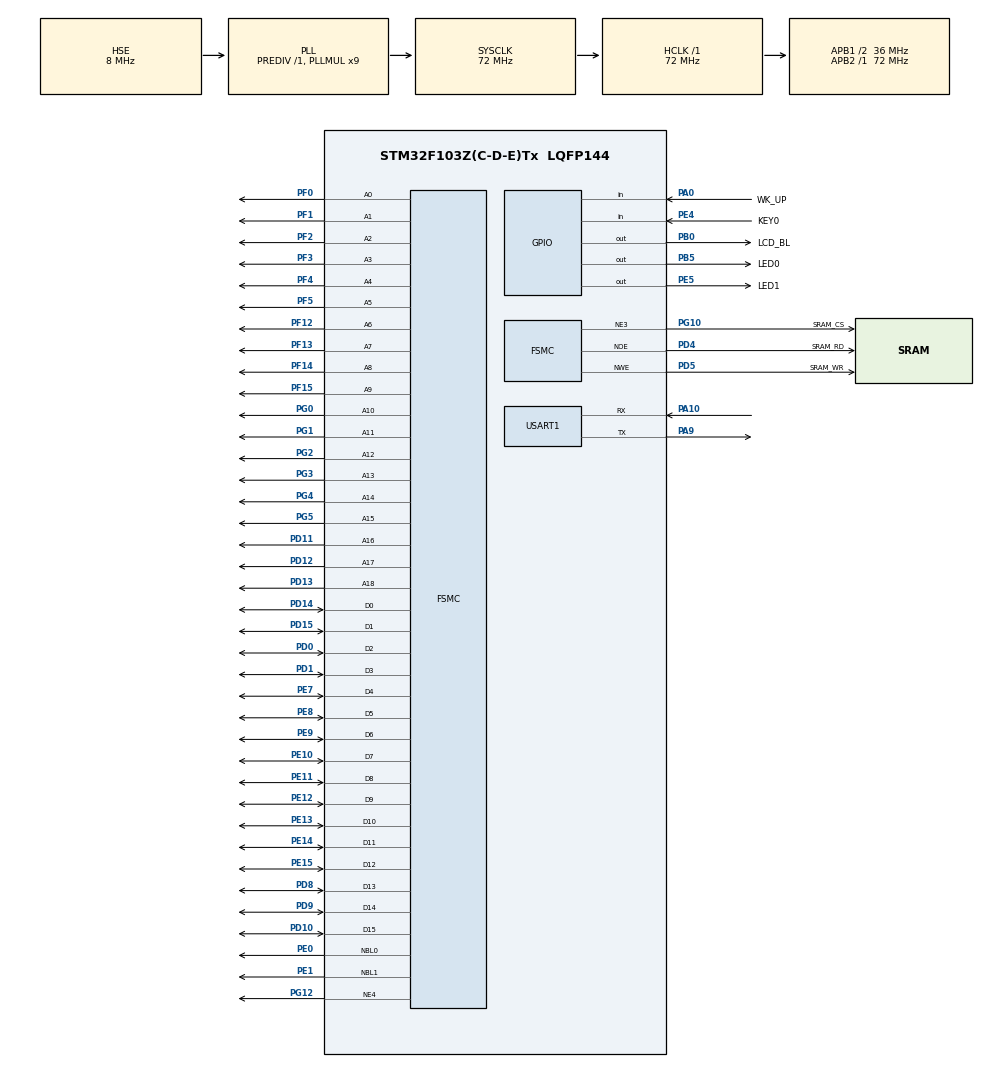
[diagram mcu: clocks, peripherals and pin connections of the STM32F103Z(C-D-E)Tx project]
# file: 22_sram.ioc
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FSMC.AddressSetupTime1=0
FSMC.AddressSetupTime2=0x00
FSMC.DataSetupTime1=15
FSMC.DataSetupTime2=0x01
FSMC.ExtendedAddressSetupTime1=0
FSMC.ExtendedDataSetupTime1=1
FSMC.ExtendedMode1=FSMC_EXTENDED_MODE_ENABLE
FSMC.WriteOperation2=FSMC_WRITE_OPERATION_ENABLE
Mcu.Family=STM32F1
Mcu.Name=STM32F103Z(C-D-E)Tx
Mcu.Package=LQFP144
NVIC.PriorityGroup=NVIC_PRIORITYGROUP_2
NVIC.USART1_IRQn=true\:2\:2\:true\:false\:true\:true\:true\:true
OSC_IN.Mode=HSE-External-Oscillator
OSC_IN.Signal=RCC_OSC_IN
OSC_OUT.Mode=HSE-External-Oscillator
OSC_OUT.Signal=RCC_OSC_OUT
PA0-WKUP.GPIO_Label=WK_UP
PA0-WKUP.GPIO_PuPd=GPIO_PULLDOWN
PA0-WKUP.Signal=GPIO_Input
PA10.Mode=Asynchronous
PA10.Signal=USART1_RX
PA13.Mode=Serial_Wire
PA13.Signal=SYS_JTMS-SWDIO
PA14.Mode=Serial_Wire
PA14.Signal=SYS_JTCK-SWCLK
PA9.Mode=Asynchronous
PA9.Signal=USART1_TX
PB0.GPIO_Label=LCD_BL
PB0.GPIO_PuPd=GPIO_PULLUP
PB0.GPIO_Speed=GPIO_SPEED_FREQ_HIGH
PB0.PinState=GPIO_PIN_SET
PB0.Signal=GPIO_Output
PB5.GPIO_Label=LED0
PB5.GPIO_PuPd=GPIO_PULLDOWN
PB5.GPIO_Speed=GPIO_SPEED_FREQ_HIGH
PB5.PinState=GPIO_PIN_SET
PB5.Signal=GPIO_Output
PC14-OSC32_IN.Mode=LSE-External-Oscillator
PC14-OSC32_IN.Signal=RCC_OSC32_IN
PC15-OSC32_OUT.Mode=LSE-External-Oscillator
PC15-OSC32_OUT.Signal=RCC_OSC32_OUT
PD0.Signal=FSMC_D2_DA2
PD1.Signal=FSMC_D3_DA3
PD10.Signal=FSMC_D15_DA15
PD11.Signal=FSMC_A16_CLE
PD12.Signal=FSMC_A17_ALE
PD13.Signal=FSMC_A18
PD14.Signal=FSMC_D0_DA0
PD15.Signal=FSMC_D1_DA1
PD4.GPIO_Label=SRAM_RD
PD4.Signal=FSMC_NOE
PD5.GPIO_Label=SRAM_WR
PD5.Signal=FSMC_NWE
PD8.Signal=FSMC_D13_DA13
PD9.Signal=FSMC_D14_DA14
PE0.Signal=FSMC_NBL0
PE1.Signal=FSMC_NBL1
PE10.Signal=FSMC_D7_DA7
PE11.Signal=FSMC_D8_DA8
PE12.Signal=FSMC_D9_DA9
PE13.Signal=FSMC_D10_DA10
PE14.Signal=FSMC_D11_DA11
PE15.Signal=FSMC_D12_DA12
PE4.GPIO_Label=KEY0
PE4.GPIO_PuPd=GPIO_PULLDOWN
PE4.Signal=GPIO_Input
PE5.GPIO_Label=LED1
PE5.GPIO_PuPd=GPIO_PULLDOWN
PE5.GPIO_Speed=GPIO_SPEED_FREQ_HIGH
PE5.PinState=GPIO_PIN_SET
PE5.Signal=GPIO_Output
PE7.Signal=FSMC_D4_DA4
PE8.Signal=FSMC_D5_DA5
PE9.Signal=FSMC_D6_DA6
PF0.Signal=FSMC_A0
PF1.Signal=FSMC_A1
PF12.Signal=FSMC_A6
PF13.Signal=FSMC_A7
PF14.Signal=FSMC_A8
PF15.Signal=FSMC_A9
PF2.Signal=FSMC_A2
PF3.Signal=FSMC_A3
PF4.Signal=FSMC_A4
PF5.Signal=FSMC_A5
PG0.Signal=FSMC_A10
PG1.Signal=FSMC_A11
PG10.GPIO_Label=SRAM_CS
PG10.Mode=NorPsramChipSelect3_2
PG10.Signal=FSMC_NE3
PG12.Mode=NorPsramChipSelect4_1
PG12.Signal=FSMC_NE4
PG2.Signal=FSMC_A12
PG3.Signal=FSMC_A13
PG4.Signal=FSMC_A14
PG5.Signal=FSMC_A15
ProjectManager.HeapSize=0x1000
ProjectManager.StackSize=0x400
ProjectManager.TargetToolchain=STM32CubeIDE
RCC.AHBFreq_Value=72000000
RCC.APB1CLKDivider=RCC_HCLK_DIV2
RCC.APB1Freq_Value=36000000
RCC.APB1TimFreq_Value=72000000
RCC.APB2Freq_Value=72000000
RCC.APB2TimFreq_Value=72000000
RCC.HCLKFreq_Value=72000000
RCC.PLLMUL=RCC_PLL_MUL9
RCC.PLLSourceVirtual=RCC_PLLSOURCE_HSE
RCC.SYSCLKFreq_VALUE=72000000
RCC.SYSCLKSource=RCC_SYSCLKSOURCE_PLLCLK
RCC.USBFreq_Value=72000000
SH.FSMC_A0.0=FSMC_A0,19b-a2
SH.FSMC_A1.0=FSMC_A1,19b-a2
SH.FSMC_A10.0=FSMC_A10,A10_1
SH.FSMC_A10.1=FSMC_A10,19b-a2
SH.FSMC_A11.0=FSMC_A11,19b-a2
SH.FSMC_A12.0=FSMC_A12,19b-a2
SH.FSMC_A13.0=FSMC_A13,19b-a2
SH.FSMC_A14.0=FSMC_A14,19b-a2
SH.FSMC_A15.0=FSMC_A15,19b-a2
SH.FSMC_A16_CLE.0=FSMC_A16,19b-a2
SH.FSMC_A17_ALE.0=FSMC_A17,19b-a2
SH.FSMC_A18.0=FSMC_A18,19b-a2
SH.FSMC_A2.0=FSMC_A2,19b-a2
SH.FSMC_A3.0=FSMC_A3,19b-a2
SH.FSMC_A4.0=FSMC_A4,19b-a2
SH.FSMC_A5.0=FSMC_A5,19b-a2
SH.FSMC_A6.0=FSMC_A6,19b-a2
SH.FSMC_A7.0=FSMC_A7,19b-a2
SH.FSMC_A8.0=FSMC_A8,19b-a2
SH.FSMC_A9.0=FSMC_A9,19b-a2
SH.FSMC_D0_DA0.0=FSMC_D0,16b-d1
SH.FSMC_D0_DA0.1=FSMC_D0,16b-d2
SH.FSMC_D10_DA10.0=FSMC_D10,16b-d1
SH.FSMC_D10_DA10.1=FSMC_D10,16b-d2
SH.FSMC_D11_DA11.0=FSMC_D11,16b-d1
SH.FSMC_D11_DA11.1=FSMC_D11,16b-d2
SH.FSMC_D12_DA12.0=FSMC_D12,16b-d1
SH.FSMC_D12_DA12.1=FSMC_D12,16b-d2
SH.FSMC_D13_DA13.0=FSMC_D13,16b-d1
SH.FSMC_D13_DA13.1=FSMC_D13,16b-d2
SH.FSMC_D14_DA14.0=FSMC_D14,16b-d1
SH.FSMC_D14_DA14.1=FSMC_D14,16b-d2
SH.FSMC_D15_DA15.0=FSMC_D15,16b-d1
SH.FSMC_D15_DA15.1=FSMC_D15,16b-d2
SH.FSMC_D1_DA1.0=FSMC_D1,16b-d1
SH.FSMC_D1_DA1.1=FSMC_D1,16b-d2
SH.FSMC_D2_DA2.0=FSMC_D2,16b-d1
SH.FSMC_D2_DA2.1=FSMC_D2,16b-d2
SH.FSMC_D3_DA3.0=FSMC_D3,16b-d1
SH.FSMC_D3_DA3.1=FSMC_D3,16b-d2
SH.FSMC_D4_DA4.0=FSMC_D4,16b-d1
SH.FSMC_D4_DA4.1=FSMC_D4,16b-d2
SH.FSMC_D5_DA5.0=FSMC_D5,16b-d1
SH.FSMC_D5_DA5.1=FSMC_D5,16b-d2
SH.FSMC_D6_DA6.0=FSMC_D6,16b-d1
SH.FSMC_D6_DA6.1=FSMC_D6,16b-d2
SH.FSMC_D7_DA7.0=FSMC_D7,16b-d1
SH.FSMC_D7_DA7.1=FSMC_D7,16b-d2
SH.FSMC_D8_DA8.0=FSMC_D8,16b-d1
SH.FSMC_D8_DA8.1=FSMC_D8,16b-d2
SH.FSMC_D9_DA9.0=FSMC_D9,16b-d1
SH.FSMC_D9_DA9.1=FSMC_D9,16b-d2
SH.FSMC_NBL0.0=FSMC_NBL0,2ByteEnable2
SH.FSMC_NBL1.0=FSMC_NBL1,2ByteEnable2
SH.FSMC_NOE.0=FSMC_NOE,Lcd1
SH.FSMC_NOE.1=FSMC_NOE,Sram2
SH.FSMC_NWE.0=FSMC_NWE,Lcd1
SH.FSMC_NWE.1=FSMC_NWE,Sram2
USART1.VirtualMode=VM_ASYNC
board=custom

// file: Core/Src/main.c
/* USER CODE BEGIN Header */
/**
 ****************************************************************************************************
 * @file        main.c
 * @author      ALIENTEK
 * @brief       sram code
 * @license     Copyright (C) 2012-2024, ALIENTEK
 ****************************************************************************************************
 * @attention
 *
 * platform     : ALIENTEK M144-STM32F103 board
 * website      : www.alientek.com
 * forum        : www.openedv.com/forum.php
 *
 * change logs  :
 * version      data         notes
 * V1.0         20240410     the first version
 *
 ****************************************************************************************************
 */
/* USER CODE END Header */
#include "main.h"
#include "usart.h"
#include "gpio.h"
#include "fsmc.h"

/* USER CODE BEGIN Includes */
#include "../../BSP/LED/led.h"
#include "../../BSP/KEY/key.h"
#include "../../BSP/LCD/lcd.h"
/* USER CODE END Includes */

/* USER CODE BEGIN PTD */

/* Defines a test array
 * The start address is SRAM_BASE_ADDR
 */
uint32_t g_test_buffer[250000]  __attribute__((section(".sram")));

/**
 * @brief       External Memory Test (supports up to 1MB memory test)
 * @param       None
 * @retval      None
 */
void fsmc_sram_test(uint16_t x, uint16_t y)
{
    uint32_t i = 0;
    uint8_t temp = 0;
    uint8_t sval = 0; /* Data read at address 0 */

    lcd_show_string(x, y, 239, y + 16, 16, "Ex Memory Test:   0KB", BLUE);

    /* Write one data every 4KB, a total of 256 data written, exactly 1MB */
    for (i = 0; i < 1024 * 1024; i += 4096)
    {
        sram_write(&temp, i, 1);
        temp++;
    }

    /* Read out the previously written data one by one and perform verification */
    for (i = 0; i < 1024 * 1024; i += 4096)
    {
        sram_read(&temp, i, 1);

        if (i == 0)
        {
            sval = temp;
        }
        else if (temp <= sval)
        {
            break; /* The data read later must be greater than the data read for the first time */
        }

        lcd_show_xnum(x + 15 * 8, y, (uint16_t)(temp - sval + 1) * 4, 4, 16, 0, BLUE); /* Display memory capacity */
    }
}

/* USER CODE END PTD */

void SystemClock_Config(void);

int main(void)
{
  /* USER CODE BEGIN 1 */
    uint8_t key;
    uint8_t i = 0;
    uint32_t ts = 0;
  /* USER CODE END 1 */

  /* MCU Configuration--------------------------------------------------------*/

  /* Reset of all peripherals, Initializes the Flash interface and the Systick. */
  HAL_Init();

  /* Configure the system clock */
  SystemClock_Config();

  /* Initialize all configured peripherals */
  MX_GPIO_Init();
  MX_USART1_UART_Init();
  MX_FSMC_Init();
  /* USER CODE BEGIN 2 */

  lcd_init();
  lcd_show_string(30,  50, 200, 16, 16, "STM32", RED);
  lcd_show_string(30,  70, 200, 16, 16, "SRAM TEST", RED);
  lcd_show_string(30,  90, 200, 16, 16, "ATOM@ALIENTEK", RED);
  lcd_show_string(30, 110, 200, 16, 16, "KEY0:Test Sram", RED);
  lcd_show_string(30, 130, 200, 16, 16, "KEY_UP:TEST Data", RED);

  for (ts = 0; ts < 250000; ts++)
  {
      g_test_buffer[ts] = ts;         /* Pre-store test data */
  }

  /* USER CODE END 2 */

  /* Infinite loop */
  while (1)
  {
      key = key_scan(0);              /* Continuous pressing is not supported */

      if (key == KEY0_PRES)
      {
          fsmc_sram_test(30, 150);    /* Test SRAM capacity */
      }
      else if (key == WKUP_PRES)      /* Print pre-stored test data */
      {
          for (ts = 0; ts < 250000; ts++)
          {
              lcd_show_xnum(30, 170, g_test_buffer[ts], 6, 16, 0, BLUE);
          }
      }
      else
      {
    	  HAL_Delay(10);        /* delay 10ms */
      }

      i++;

      if (i == 20)
      {
          i = 0;
          LED0_TOGGLE();
      }
  }
}

void SystemClock_Config(void)
{
  RCC_OscInitTypeDef RCC_OscInitStruct = {0};
  RCC_ClkInitTypeDef RCC_ClkInitStruct = {0};

  /** Initializes the RCC Oscillators according to the specified parameters
  * in the RCC_OscInitTypeDef structure.
  */
  RCC_OscInitStruct.OscillatorType = RCC_OSCILLATORTYPE_HSE;
  RCC_OscInitStruct.HSEState = RCC_HSE_ON;
  RCC_OscInitStruct.HSEPredivValue = RCC_HSE_PREDIV_DIV1;
  RCC_OscInitStruct.HSIState = RCC_HSI_ON;
  RCC_OscInitStruct.PLL.PLLState = RCC_PLL_ON;
  RCC_OscInitStruct.PLL.PLLSource = RCC_PLLSOURCE_HSE;
  RCC_OscInitStruct.PLL.PLLMUL = RCC_PLL_MUL9;
  if (HAL_RCC_OscConfig(&RCC_OscInitStruct) != HAL_OK)
  {
    Error_Handler();
  }

  /** Initializes the CPU, AHB and APB buses clocks
  */
  RCC_ClkInitStruct.ClockType = RCC_CLOCKTYPE_HCLK|RCC_CLOCKTYPE_SYSCLK
                              |RCC_CLOCKTYPE_PCLK1|RCC_CLOCKTYPE_PCLK2;
  RCC_ClkInitStruct.SYSCLKSource = RCC_SYSCLKSOURCE_PLLCLK;
  RCC_ClkInitStruct.AHBCLKDivider = RCC_SYSCLK_DIV1;
  RCC_ClkInitStruct.APB1CLKDivider = RCC_HCLK_DIV2;
  RCC_ClkInitStruct.APB2CLKDivider = RCC_HCLK_DIV1;

  if (HAL_RCC_ClockConfig(&RCC_ClkInitStruct, FLASH_LATENCY_2) != HAL_OK)
  {
    Error_Handler();
  }
}

void Error_Handler(void)
{
  __disable_irq();
  while (1)
  {
  }
}
